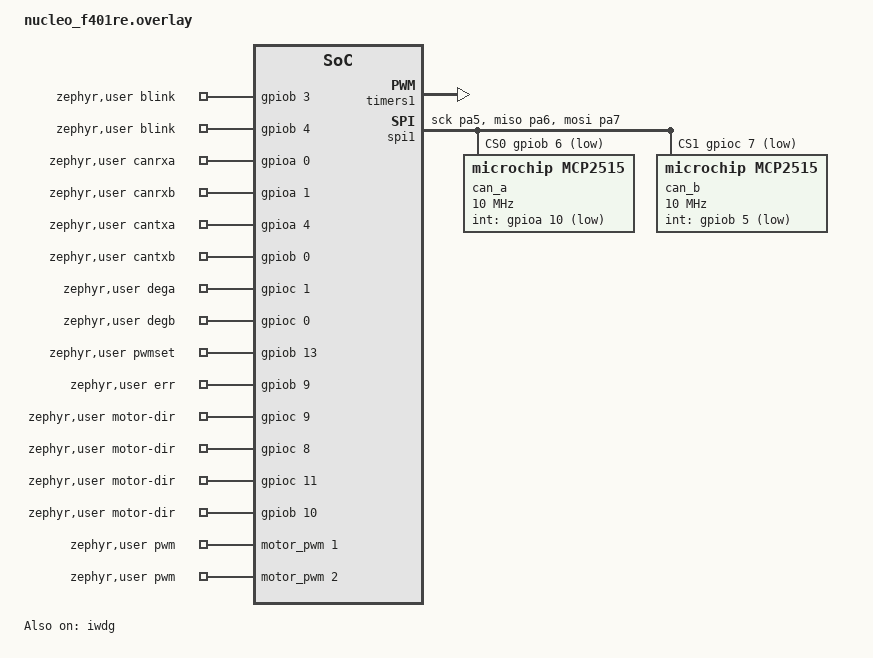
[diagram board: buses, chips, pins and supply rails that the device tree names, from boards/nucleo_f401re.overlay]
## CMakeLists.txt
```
cmake_minimum_required(VERSION 3.20.0)
find_package(Zephyr REQUIRED HINTS $ENV{ZEPHYR_BASE})
project(lab3_drivetrain)

target_sources(app PRIVATE
	src/blink.c
	src/canbus.c
	src/dispatch.c
	src/tp.c
	src/zone.c
	src/tx_task.c
	src/pid.c
	src/motor.c
	src/main.c
	src/relay.c
)

target_include_directories(app PRIVATE include ../../common)
```

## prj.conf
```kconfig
CONFIG_GPIO=y
CONFIG_SPI=y
CONFIG_CAN=y
CONFIG_CAN_MCP2515=y
CONFIG_CAN_MCP2515_INT_THREAD_PRIO=0
CONFIG_PWM=y
CONFIG_WATCHDOG=y
CONFIG_PRINTK=y
CONFIG_CBPRINTF_FP_SUPPORT=n
CONFIG_STM32_ENABLE_DEBUG_SLEEP_STOP=y
```

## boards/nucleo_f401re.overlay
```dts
/*
 * SPI1: SCK [PA5], MOSI [PA7], MISO [PA6] check
 * CAN A: CS [PB6], INT [PA10] ; CAN B: CS [PC7], INT [PB5] check
 * Blinker: RL [PB3], RR [PB4]
 * ENA [PA8]		ENB [PA9]
 * IN1 [PC9] IN2 [PC8] IN3 [PC11] IN4 [PB10] 
 * Test Button: B1 [PC13], SW0
 * Test Points
 * CAN_RX_A [PA0]	CAN_RX_B [PA1]
 * CAN_TX_A [PA4]	CAN_TX_B [PB0]
 * DEG_A [PC1]		DEG_B [PC0]
 * PWM_SET [PB13]	PWM_OUT [PA8]
 * DIR_A [PC8]	    ERR [PB9]
 */

#include <zephyr/dt-bindings/pwm/pwm.h>

/ {

	aliases {
		/delete-property/ led0;
		/delete-property/ pwm-led0;
		can-a = &can_a;
		can-b = &can_b;
	};
	
	zephyr,user {
		blink-gpios = <&gpiob 3 GPIO_ACTIVE_HIGH>, <&gpiob 4 GPIO_ACTIVE_HIGH>;
		canrxa-gpios = <&gpioa 0 GPIO_ACTIVE_HIGH>;
		canrxb-gpios = <&gpioa 1 GPIO_ACTIVE_HIGH>;
		cantxa-gpios = <&gpioa 4 GPIO_ACTIVE_HIGH>;
		cantxb-gpios = <&gpiob 0 GPIO_ACTIVE_HIGH>;
		dega-gpios = <&gpioc 1 GPIO_ACTIVE_HIGH>;
		degb-gpios = <&gpioc 0 GPIO_ACTIVE_HIGH>;
		pwmset-gpios = <&gpiob 13 GPIO_ACTIVE_HIGH>;
		err-gpios = <&gpiob 9 GPIO_ACTIVE_HIGH>;

		/* 20 kHz motor PWM */
		pwms = <&motor_pwm 1 PWM_USEC(50) PWM_POLARITY_NORMAL>,
		       <&motor_pwm 2 PWM_USEC(50) PWM_POLARITY_NORMAL>;

		/* IN1, IN2 (left), IN3, IN4 (right) */
		motor-dir-gpios = <&gpioc 9 GPIO_ACTIVE_HIGH>,
				  <&gpioc 8 GPIO_ACTIVE_HIGH>,
				  <&gpioc 11 GPIO_ACTIVE_HIGH>,
				  <&gpiob 10 GPIO_ACTIVE_HIGH>;
	};
};

/* The board file puts these on pins we need - turn them off. */
&usart1 { status = "disabled"; };  /* PB6/PB7 */
&i2c3   { status = "disabled"; };  /* PA8 */
&i2c1   { status = "disabled"; };  /* PB8/PB9 */
&spi2   { status = "disabled"; };  /* PB8/PB9 */
&spi3   { status = "disabled"; };  /* PB8/PB9 */
&green_led_2   { status = "disabled"; };
&green_pwm_led { status = "disabled"; };
&pwm2          { status = "disabled"; };


&iwdg	{ status = "okay"; };

&timers1 {
	status = "okay";
	st,prescaler = <0>;
	motor_pwm: pwm {
		status = "okay";
		pinctrl-0 = <&tim1_ch1_pa8 &tim1_ch2_pa9>;
		pinctrl-names = "default";
	};
};

&spi1 {
	status = "okay";
	pinctrl-0 = <&spi1_sck_pa5 &spi1_miso_pa6 &spi1_mosi_pa7>;
	pinctrl-names = "default";
	cs-gpios = <&gpiob 6 (GPIO_ACTIVE_LOW | GPIO_PULL_UP)>,
		   <&gpioc 7 (GPIO_ACTIVE_LOW | GPIO_PULL_UP)>;

	can_a: mcp2515@0 {
		compatible = "microchip,mcp2515";
		reg = <0>;
		spi-max-frequency = <10000000>;
		int-gpios = <&gpioa 10 GPIO_ACTIVE_LOW>;
		osc-freq = <16000000>;	/* must match the crystal on the module */
		bitrate = <500000>;
		status = "okay";
	};

	can_b: mcp2515@1 {
		compatible = "microchip,mcp2515";
		reg = <1>;
		spi-max-frequency = <10000000>;
		int-gpios = <&gpiob 5 GPIO_ACTIVE_LOW>;
		osc-freq = <16000000>;	/* must match the crystal on the module */
		bitrate = <500000>;
		status = "okay";
	};
};
```

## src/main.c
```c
#include <zephyr/drivers/watchdog.h>
#include <zephyr/kernel.h>

#include "blink.h"
#include "canbus.h"
#include "config.h"
#include "relay.h"
#include "motor.h"
#include "pid.h"
#include "tp.h"
#include "zone.h"

int dispatch_init(void);
int tx_task_init(void);

static const struct device *const wdt = DEVICE_DT_GET(DT_NODELABEL(iwdg));

static int wdt_start(void)
{
	struct wdt_timeout_cfg cfg = {
		.window = { .min = 0, .max = WDT_TIMEOUT_MS },
		.callback = NULL,
		.flags = WDT_FLAG_RESET_SOC,
	};
	int ch;

	if (!device_is_ready(wdt)) {
		return -ENODEV;
	}
	ch = wdt_install_timeout(wdt, &cfg);
	if (ch < 0 || wdt_setup(wdt, WDT_OPT_PAUSE_HALTED_BY_DBG) < 0) {
		return -EIO;
	}
	return ch;
}

static const char *state_str(enum zone_state s)
{
	return s == ZONE_NORMAL ? "NORMAL" : s == ZONE_ERROR ? "ERROR" : "LOCAL_FAIL";
}

int main(void)
{
	struct canbus_stats st;
	int64_t next_print = 0;
	int wdt_ch;

	printk("\nLab 3 N3 drivetrain zone\n");

	if (tp_init() < 0) {
		printk("test point GPIO not ready\n");
	}
	/* Outputs first, in their safe state (ERROR: motors braked, hazards). */
	blink_init();
	zone_init();
	motor_init();            /* starts the high-priority motor thread */
	pid_init();              /* starts the lower-priority PID thread  */
	relay_init();
	dispatch_init();
	if (canbus_init() < 0) {
		printk("no CAN module came up\n");
	}
	tx_task_init();

	wdt_ch = wdt_start();
	if (wdt_ch < 0) {
		printk("watchdog not started (%d)\n", wdt_ch);
	}

	for (;;) {
		k_msleep(WDT_FEED_MS);

		/* Feed only if every periodic thread (incl. motor and PID) ran since
		 * the last check, so a stuck thread resets the board instead of hiding. */
		if (wdt_ch >= 0 && (zone_wdt_take() & WDT_ALL) == WDT_ALL) {
			wdt_feed(wdt, wdt_ch);
		}

		if (k_uptime_get() >= next_print) {
			next_print = k_uptime_get() + STATUS_PRINT_MS;
			canbus_get_stats(&st);
			printk("%-10s | A tx %u fail %u rx %u st %d | B tx %u fail %u rx %u st %d | "
			       "health 0x%x | rxq drop %u\n",
			       state_str(zone_state()), st.tx_ok[BUS_A], st.tx_fail[BUS_A],
			       st.rx[BUS_A], st.state[BUS_A], st.tx_ok[BUS_B], st.tx_fail[BUS_B],
			       st.rx[BUS_B], st.state[BUS_B], zone_health_bits(), st.rx_drop);
		}
	}
	return 0;
}
```

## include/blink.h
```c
/* BLINK_F: front blinkers FL / FR from the BLINK frames (R2.4). */
#ifndef BLINK_H
#define BLINK_H

#include "can_catalog.h"

/* A new, valid BLINK (dispatch thread). */
void blink_on_msg(const struct can_blink *b);
/* Re-evaluate now (state change). */
void blink_kick(void);
int blink_init(void);

#endif /* BLINK_H */
```

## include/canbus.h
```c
/*
 * N3's two MCP2515 modules: bus A (can_a) and bus B (can_b).
 * Same job as lab3_pi/src/canbus.c, on Zephyr.
 */
#ifndef CANBUS_H
#define CANBUS_H

#include <stdint.h>
#include <zephyr/drivers/can.h>
#include <zephyr/kernel.h>

#include "can_catalog.h"

enum { BUS_A = 0, BUS_B = 1, BUS_COUNT = 2 };

/* One received frame and the bus it came in on. */
struct rx_item {
	struct can_frame frame;
	uint8_t bus;
};

/* Every received frame from both buses, duplicates included (dispatch.c). */
extern struct k_msgq canbus_rxq;

/* Registers the catalog IDs on both modules and starts them. 0 if at least one came up. */
int canbus_init(void);

/*
 * The send helper (Part 5): queue the same 8 bytes on bus A, then bus B, back
 * to back, toggling CAN_TX_A / CAN_TX_B, then bump *seq once. The caller packs
 * d with the current *seq. Never blocks: a bus nobody ACKs just fails its send.
 */
void canbus_send_both(uint16_t id, const uint8_t d[CAN_DLC], uint8_t *seq);

/* Queue one frame on one bus only, unchanged (the relay). Returns 0 if queued. */
int canbus_send_on(int bus, uint16_t id, const uint8_t d[CAN_DLC]);

/* Counters for the status line. */
struct canbus_stats {
	uint32_t tx_ok[BUS_COUNT];
	uint32_t tx_fail[BUS_COUNT]; /* not queued (TX buffers full / bus-off) or TX error */
	uint32_t rx[BUS_COUNT];
	uint32_t rx_drop;            /* canbus_rxq was full */
	enum can_state state[BUS_COUNT];
};
void canbus_get_stats(struct canbus_stats *s);

#endif /* CANBUS_H */
```

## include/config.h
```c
#ifndef CONFIG_H
#define CONFIG_H

#define STACK_SZ 1024


#define PRIO_DISPATCH 1 
#define PRIO_MOTOR    2
#define PRIO_RELAY    3
#define PRIO_BLINK_R  4 
#define PRIO_TEST_BTN 5 
#define PRIO_PID      6
#define PRIO_HB_MON   7 
#define PRIO_HB_TX    8 


#define HB_PERIOD_MS      20  
#define HB_MISS_LIMIT     3   

#define DEGRADED_MS       40  
#define RELAY_AFTER_MS    60  
#define CTRL_STALE_MS     100 
#define GOOD_CTRL_TO_CLEAR 2 
#define FAULT_HOLD_MS     100 
#define FAULT_MIN_GAP_MS  20  
#define FORCE_PERIOD_MS   50  
#define HAZARD_HALF_MS    250 
#define SELFTEST_LOCKOUT_MS 50 
#define SELFTEST_DOUBLE_MS  500
#define WDT_TIMEOUT_MS    300 
#define WDT_FEED_MS       100 
#define STATUS_PRINT_MS   1000

#define MOTOR_L_INVERT      0        
#define MOTOR_R_INVERT      1
#define DUTY_MAX            1000     


#endif 
```

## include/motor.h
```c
#ifndef MOTOR_H
#define MOTOR_H

#include <stdbool.h>
#include <stdint.h>

#include "canbus.h"

/* Latest accepted CTRL command, shared between dispatch, motor and PID. */
struct motor_cmd {
	bool valid;        /* at least one good CTRL received */
	uint8_t throttle;  /* 0..100 % */
	uint8_t brake;     /* > 0 -> brake */
	uint8_t seq;       /* local counter, bumps on every new CTRL (PWM_SET test point) */
};

/* Configure pins, brake, and start the (high priority) motor thread. */
int motor_init(void);

/* Called from the dispatch thread on every valid CTRL frame. */
void motor_on_ctrl(const struct can_ctrl *c);

/* Called from zone.c on a state change: wake the motor thread to re-evaluate now. */
void motor_kick(void);

/* Called from the PID thread: publish the requested duty (0 = coast). */
void motor_set_duty(uint16_t duty);

/* Snapshot of the latest command (safe from any thread). */
void motor_get_cmd(struct motor_cmd *out);

/* Low-level outputs; only the motor thread (and motor_init) calls these. */
void motor_forward(uint16_t duty);
void motor_brake(void);

#endif /* MOTOR_H */
```

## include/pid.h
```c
/**
 * @file pid.h
 * @brief Small PID controller with a feed-forward bias, an anti-windup clamp
 *        and derivative-on-measurement.
 *
 *   output = clamp(bias + kp*err + integral - kd*meas_rate, out_min, out_max)
 *
 * The D term acts on the measured rate (e.g. wheel acceleration), not on the
 * error, so a setpoint change doesn't cause a derivative kick.
 *
 * No kernel or hardware dependencies, so it can be unit-tested on the host.
 * Not thread-safe: each instance belongs to one thread.
 */
#ifndef PID_H_
#define PID_H_

struct pid_cfg {
	float kp;
	float ki;
	float kd;
	float i_limit;   /* integral term is clamped to +/- i_limit */
	float out_min;
	float out_max;
};

struct pid {
	struct pid_cfg cfg;
	float integral;
};

int pid_init(void);

/** Clear the integral (call while stopped so it can't wind up). */
void pid_reset(struct pid *p);

/** Output for the current state WITHOUT integrating (integral is frozen). */
float pid_output(const struct pid *p, float err, float meas_rate, float bias);

/** Integrate err over dt, then return the new output. */
float pid_update(struct pid *p, float err, float meas_rate, float bias, float dt);

#endif /* PID_H_ */
```

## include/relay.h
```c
#ifndef RELAY_H
#define RELAY_H

#include "canbus.h"

void relay_queue(const struct can_frame *f, int to_bus);
uint32_t relay_count(void);
int relay_init(void);

#endif 
```

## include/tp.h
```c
#ifndef TP_H
#define TP_H

#include <stdbool.h>

enum tp {
	TP_CAN_RX_A,
	TP_CAN_RX_B, 
	TP_CAN_TX_A, 
	TP_CAN_TX_B, 
	TP_DEG_A,    
	TP_DEG_B,
	TP_ERR,      /* N3 has no RELAY_TX: only N2 relays */
	TP_COUNT,
};

int tp_init(void);
void tp_toggle(enum tp tp);
void tp_set(enum tp tp, bool on);

#endif 
```

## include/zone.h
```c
#ifndef ZONE_H
#define ZONE_H

#include <stdbool.h>
#include <stdint.h>

#include "can_catalog.h"

enum zone_state {
	ZONE_ERROR,      
	ZONE_NORMAL,
	ZONE_LOCAL_FAIL, 
};

enum zone_state zone_state(void);

/* HB_N2 payload. */
uint8_t zone_wire_state(void);
uint8_t zone_health_bits(void);

void zone_on_frame(int bus, uint8_t sender, bool is_hb);
void zone_on_ctrl(enum can_check result);
void zone_on_fault(const struct can_fault *f);

bool zone_relay_to(uint8_t sender, int from_bus, int *to_bus);


bool zone_blink_master_alive(void);

enum {
	WDT_HB_MON = BIT(0),
	WDT_HB_TX = BIT(1),
	WDT_MOTOR = BIT(2),
	WDT_PID = BIT(3),
	WDT_ALL = WDT_HB_MON | WDT_HB_TX | WDT_MOTOR | WDT_PID,
};
void zone_wdt_checkin(uint32_t bit);
uint32_t zone_wdt_take(void);

int zone_init(void);

#endif
```

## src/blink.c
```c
/*
 * BLINK_F (task table: on BLINK, 0.5 ms from reception).
 *
 * The cockpit is the blink master: it sends a BLINK on every lamp edge, and
 * we set the lamps the moment it arrives, so FL/FR (N2) and RL/RR (here)
 * switch within the difference of the two receive paths (R2.4, 1 ms).
 *
 * If the cockpit can't send BLINK (N1 failed, or we are cut off from both
 * buses) and we are not NORMAL, nobody will tell us to flash the hazards, so
 * we run them on our own 2 Hz timer (lab3_pi/README.md, "Still to do" 4).
 */
#include <zephyr/drivers/gpio.h>
#include <zephyr/kernel.h>

#include "blink.h"
#include "config.h"
#include "zone.h"

enum { RL, RR, N_LEDS };

static const struct gpio_dt_spec leds[N_LEDS] = {
	GPIO_DT_SPEC_GET_BY_IDX(DT_PATH(zephyr_user), blink_gpios, 0),
	GPIO_DT_SPEC_GET_BY_IDX(DT_PATH(zephyr_user), blink_gpios, 1),
};

/* Depth 4: lamp edges come at least 20 ms apart, so this never fills. */
K_MSGQ_DEFINE(blink_q, sizeof(struct can_blink), 4, 1);

void blink_on_msg(const struct can_blink *b)
{
	(void)k_msgq_put(&blink_q, b, K_NO_WAIT);
}

#define MODE_RECHECK 0xFF

void blink_kick(void)
{
	const struct can_blink recheck = { .mode = MODE_RECHECK };

	(void)k_msgq_put(&blink_q, &recheck, K_NO_WAIT);
}

static void apply(const struct can_blink *b)
{
	bool left = (b->mode == CAN_BLINK_LEFT || b->mode == CAN_BLINK_HAZARD) && b->phase;
	bool right = (b->mode == CAN_BLINK_RIGHT || b->mode == CAN_BLINK_HAZARD) && b->phase;

	gpio_pin_set_dt(&leds[RL], left);
	gpio_pin_set_dt(&leds[RR], right);
}

static void blink_thread(void *p1, void *p2, void *p3)
{
	struct can_blink b;
	struct can_blink local = { .mode = CAN_BLINK_HAZARD, .phase = 1 };

	/* R3: power up in ERROR with hazards until the cockpit takes over. */
	apply(&local);

	for (;;) {
		int got = k_msgq_get(&blink_q, &b, K_MSEC(HAZARD_HALF_MS));
		bool own_hazards = zone_state() != ZONE_NORMAL && !zone_blink_master_alive();

		if (got == 0) {
			apply(&b);
		} else if (own_hazards) {
			/* No BLINK for HAZARD_HALF_MS (or a state change) and the
			 * master is gone: flash the hazards ourselves. */
			local.phase = got == 0 ? 1 : local.phase ^ 1;
			apply(&local);
		}
	}
}

K_THREAD_DEFINE(blink_tid, STACK_SZ, blink_thread, NULL, NULL, NULL, PRIO_BLINK_R, 0,
		SYS_FOREVER_MS);

int blink_init(void)
{
	for (int i = 0; i < N_LEDS; i++) {
		if (!gpio_is_ready_dt(&leds[i]) ||
		    gpio_pin_configure_dt(&leds[i], GPIO_OUTPUT_INACTIVE) < 0) {
			printk("blinker GPIO not ready\n");
			return -ENODEV;
		}
	}
	k_thread_start(blink_tid);
	return 0;
}
```

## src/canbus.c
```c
#include <string.h>
#include <zephyr/sys/atomic.h>

#include "canbus.h"
#include "tp.h"

K_MSGQ_DEFINE(canbus_rxq, sizeof(struct rx_item), 32, 4);

static const uint16_t rx_ids[] = {
	CAN_ID_CTRL, CAN_ID_FAULT, CAN_ID_HB_N1, CAN_ID_HB_N2, CAN_ID_BLINK,
};

static const struct device *const devs[BUS_COUNT] = {
	DEVICE_DT_GET(DT_NODELABEL(can_a)),
	DEVICE_DT_GET(DT_NODELABEL(can_b)),
};
static const enum tp tp_rx[BUS_COUNT] = { TP_CAN_RX_A, TP_CAN_RX_B };
static const enum tp tp_tx[BUS_COUNT] = { TP_CAN_TX_A, TP_CAN_TX_B };

#define TX_WAIT K_MSEC(2)

static bool up[BUS_COUNT];
static atomic_t tx_ok[BUS_COUNT], tx_fail[BUS_COUNT], rx_cnt[BUS_COUNT], rx_drop;


static void rx_cb(const struct device *dev, struct can_frame *frame, void *user_data)
{
	struct rx_item it = { .frame = *frame, .bus = (uint8_t)(uintptr_t)user_data };

	ARG_UNUSED(dev);
	tp_toggle(tp_rx[it.bus]);
	atomic_inc(&rx_cnt[it.bus]);
	if (k_msgq_put(&canbus_rxq, &it, K_NO_WAIT) != 0) {
		atomic_inc(&rx_drop);
	}
}

static void tx_cb(const struct device *dev, int error, void *user_data)
{
	int bus = (int)(uintptr_t)user_data;

	ARG_UNUSED(dev);
	atomic_inc(error == 0 ? &tx_ok[bus] : &tx_fail[bus]);
}

int canbus_init(void)
{
	int n_up = 0;

	for (int b = 0; b < BUS_COUNT; b++) {
		bool ok = device_is_ready(devs[b]);

		for (int i = 0; ok && i < ARRAY_SIZE(rx_ids); i++) {
			const struct can_filter f = {
				.id = rx_ids[i], .mask = CAN_STD_ID_MASK, .flags = 0,
			};

			ok = can_add_rx_filter(devs[b], rx_cb, (void *)(uintptr_t)b, &f) >= 0;
		}
		if (ok) {
			ok = can_start(devs[b]) == 0;
		}
		up[b] = ok;
		n_up += ok;
		printk("CAN %c: %s\n", 'A' + b, ok ? "started" : "NOT running");
	}
	return n_up > 0 ? 0 : -ENODEV;
}

int canbus_send_on(int bus, uint16_t id, const uint8_t d[CAN_DLC])
{
	struct can_frame f = { .id = id, .dlc = CAN_DLC };
	int err;

	if (!up[bus]) {
		return -ENODEV;
	}
	memcpy(f.data, d, CAN_DLC);
	tp_toggle(tp_tx[bus]);
	/*
	 * Zephyr's MCP2515 driver uses only ONE transmit buffer, so a send while
	 * the previous frame is still going out has to wait for it. K_NO_WAIT
	 * dropped a frame every time two threads sent together (HB and FORCE line
	 * up every 100 ms). One frame takes ~0.27 ms, < 2 ms worst case behind
	 * higher-priority traffic, so wait up to TX_WAIT. On a bus nobody ACKs
	 * (jumper pulled) the buffer never frees: each send there waits TX_WAIT
	 * and fails, delaying the other bus's copy by at most that much.
	 */
	err = can_send(devs[bus], &f, TX_WAIT, tx_cb, (void *)(uintptr_t)bus);
	if (err != 0) {
		atomic_inc(&tx_fail[bus]);
	}
	return err;
}

void canbus_send_both(uint16_t id, const uint8_t d[CAN_DLC], uint8_t *seq)
{
	canbus_send_on(BUS_A, id, d);
	canbus_send_on(BUS_B, id, d);
	*seq = can_seq_next(*seq);
}

void canbus_get_stats(struct canbus_stats *s)
{
	for (int b = 0; b < BUS_COUNT; b++) {
		s->tx_ok[b] = atomic_get(&tx_ok[b]);
		s->tx_fail[b] = atomic_get(&tx_fail[b]);
		s->rx[b] = atomic_get(&rx_cnt[b]);
		if (!up[b] || can_get_state(devs[b], &s->state[b], NULL) != 0) {
			s->state[b] = CAN_STATE_STOPPED;
		}
	}
	s->rx_drop = atomic_get(&rx_drop);
}
```

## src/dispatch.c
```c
#include <zephyr/kernel.h>

#include "blink.h"
#include "canbus.h"
#include "config.h"
#include "relay.h"
#include "motor.h"
#include "zone.h"

static struct can_seq_filter rx_ctrl, rx_blink;
static struct can_seq_filter rx_hb[CAN_ZONE_N3 + 1], rx_fault[CAN_ZONE_N3 + 1];

static void dispatch_thread(void *p1, void *p2, void *p3)
{
	struct rx_item it;

	for (;;) {
		k_msgq_get(&canbus_rxq, &it, K_FOREVER);

		const uint8_t *d = it.frame.data;
		uint16_t id = it.frame.id;
		uint32_t now = k_uptime_get_32();
		struct can_seq_filter *filt = NULL;
		uint8_t sender = 0;
		struct can_fault f;
		bool fault_ok = false;

		if (it.frame.dlc != CAN_DLC) {
			zone_on_frame(it.bus, 0, false);
			continue;
		}

		switch (id) {
		case CAN_ID_CTRL:
			sender = CAN_ZONE_N1;
			filt = &rx_ctrl;
			break;
		case CAN_ID_BLINK:
			sender = CAN_ZONE_N1;
			filt = &rx_blink;
			break;
		case CAN_ID_HB_N1:
		case CAN_ID_HB_N2:
			sender = can_hb_zone(id);
			filt = &rx_hb[sender];
			break;
		case CAN_ID_FAULT:
			fault_ok = can_unpack_fault(d, &f) == CAN_OK && f.zone != CAN_ZONE_N3;
			if (fault_ok) {
				sender = f.zone;
				filt = &rx_fault[sender];
			}
			break;
		default:
			break;
		}

		zone_on_frame(it.bus, sender, can_hb_zone(id) != 0);
		if (filt == NULL || !can_seq_accept(filt, can_seq(d), now)) {
			continue; 
		}

		int to_bus;

		if (zone_relay_to(sender, it.bus, &to_bus)) {
			relay_queue(&it.frame, to_bus);
		}

		switch (id) {
		case CAN_ID_CTRL: {
			struct can_ctrl c;
			enum can_check r = can_unpack_ctrl(d, &c);

			if (r == CAN_OK) {
				motor_on_ctrl(&c);
			}
			zone_on_ctrl(r);
			break;
		}
		case CAN_ID_BLINK: {
			struct can_blink b;

			if (can_unpack_blink(d, &b) == CAN_OK) {
				blink_on_msg(&b);
			}
			break;
		}
		case CAN_ID_FAULT:
			zone_on_fault(&f);
			break;
		default:
			break; 
		}
	}
}

K_THREAD_DEFINE(dispatch_tid, STACK_SZ, dispatch_thread, NULL, NULL, NULL, PRIO_DISPATCH, 0,
		SYS_FOREVER_MS);

int dispatch_init(void)
{
	k_thread_start(dispatch_tid);
	return 0;
}
```

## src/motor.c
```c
/**
 * @file motor.c
 * @brief High-priority motor thread. It is the ONLY code that touches the
 *        L298N pins / PWM. It wakes on:
 *          - a new CTRL command   (motor_on_ctrl)  -> brake at once (R2.2)
 *          - a zone state change  (motor_kick)     -> brake at once
 *          - a new duty from PID  (motor_set_duty) -> apply it
 *        The PID loop lives in pid.c at a lower priority.
 *
 * L298N truth table, per motor:
 *   EN low              -> coast (motor free-wheels)
 *   EN high, IN1 != IN2 -> drive (which one is high sets direction)
 *   EN high, IN1 == IN2 -> dynamic brake (motor terminals shorted together)
 */
#include <zephyr/kernel.h>
#include <zephyr/drivers/gpio.h>
#include <zephyr/drivers/pwm.h>
#include <zephyr/spinlock.h>
#include <zephyr/sys/atomic.h>

#include "config.h"
#include "motor.h"
#include "zone.h"

#define USER DT_PATH(zephyr_user)

static const struct pwm_dt_spec en[2] = {
	PWM_DT_SPEC_GET_BY_IDX(USER, 0),
	PWM_DT_SPEC_GET_BY_IDX(USER, 1),
};
static const struct gpio_dt_spec in[4] = {
	GPIO_DT_SPEC_GET_BY_IDX(USER, motor_dir_gpios, 0),   /* IN1 */
	GPIO_DT_SPEC_GET_BY_IDX(USER, motor_dir_gpios, 1),   /* IN2 */
	GPIO_DT_SPEC_GET_BY_IDX(USER, motor_dir_gpios, 2),   /* IN3 */
	GPIO_DT_SPEC_GET_BY_IDX(USER, motor_dir_gpios, 3),   /* IN4 */
};
static const bool invert[2] = { MOTOR_L_INVERT, MOTOR_R_INVERT };

/* PWM_SET test point: toggled right after a new command is applied, so the
 * scope shows CMD_RX -> PWM_SET = software response time for R2.1. */
static const struct gpio_dt_spec tp_pwm_set = GPIO_DT_SPEC_GET(USER, pwmset_gpios);

static struct k_spinlock cmd_lock;
static struct motor_cmd cmd;          /* guarded by cmd_lock */
static atomic_t duty_req;             /* written by PID, read by motor thread */
static K_SEM_DEFINE(motor_sem, 0, 1);

/* ---------- shared-state API ---------- */

void motor_on_ctrl(const struct can_ctrl *c)
{
	k_spinlock_key_t key = k_spin_lock(&cmd_lock);

	cmd.valid = true;
	cmd.throttle = c->throttle;
	cmd.brake = c->brake;
	cmd.seq++;
	k_spin_unlock(&cmd_lock, key);
	k_sem_give(&motor_sem);
}

void motor_kick(void)
{
	k_sem_give(&motor_sem);
}

void motor_set_duty(uint16_t duty)
{
	atomic_set(&duty_req, duty);
	k_sem_give(&motor_sem);
}

void motor_get_cmd(struct motor_cmd *out)
{
	k_spinlock_key_t key = k_spin_lock(&cmd_lock);

	*out = cmd;
	k_spin_unlock(&cmd_lock, key);
}

/* ---------- motor thread (higher priority than PID) ---------- */

static void motor_thread(void *p1, void *p2, void *p3)
{
	uint8_t pwm_set_seq = 0;

	for (;;) {
		/* Timeout keeps the watchdog check-in alive even if nothing arrives. */
		k_sem_take(&motor_sem, K_MSEC(HB_PERIOD_MS));
		zone_wdt_checkin(WDT_MOTOR);

		struct motor_cmd c;

		motor_get_cmd(&c);

		/* Safe state on fault or no command yet; brake beats throttle. */
		if (zone_state() != ZONE_NORMAL || !c.valid || c.brake > 0) {
			motor_brake();
		} else {
			uint16_t duty = (uint16_t)atomic_get(&duty_req);

			motor_forward(duty);   /* duty 0 -> coast */
		}

		if (c.seq != pwm_set_seq) {
			gpio_pin_toggle_dt(&tp_pwm_set);
			pwm_set_seq = c.seq;
		}
	}
}

K_THREAD_DEFINE(motor_tid, STACK_SZ, motor_thread, NULL, NULL, NULL, PRIO_MOTOR, 0,
		SYS_FOREVER_MS);

int motor_init(void)
{
	for (int i = 0; i < 4; i++) {
		gpio_pin_configure_dt(&in[i], GPIO_OUTPUT_INACTIVE);
	}
	gpio_pin_configure_dt(&tp_pwm_set, GPIO_OUTPUT_INACTIVE);
	motor_brake();   /* start in a safe, stopped state */
	k_thread_start(motor_tid);
	return 0;
}

/* ---------- low-level outputs ---------- */

void motor_forward(uint16_t duty)
{
	if (duty > DUTY_MAX) {
		duty = DUTY_MAX;
	}
	for (int s = 0; s < 2; s++) {
		gpio_pin_set_dt(&in[2 * s],     invert[s] ? 0 : 1);
		gpio_pin_set_dt(&in[2 * s + 1], invert[s] ? 1 : 0);
		pwm_set_pulse_dt(&en[s], (uint32_t)((uint64_t)en[s].period * duty / DUTY_MAX));
	}
}

void motor_brake(void)
{
	/* 1. Both IN pins LOW: IN1 == IN2, so the bridge shorts the motor.
	 *    Set these FIRST so the motor stops being driven immediately. */
	for (int i = 0; i < 4; i++) {
		gpio_pin_set_dt(&in[i], 0);
	}
	/* 2. EN held fully ON (100 %, no PWM). With EN low the motor would
	 *    coast instead; with PWM it would alternate brake/coast. */
	for (int s = 0; s < 2; s++) {
		pwm_set_pulse_dt(&en[s], en[s].period);
	}
}
```
